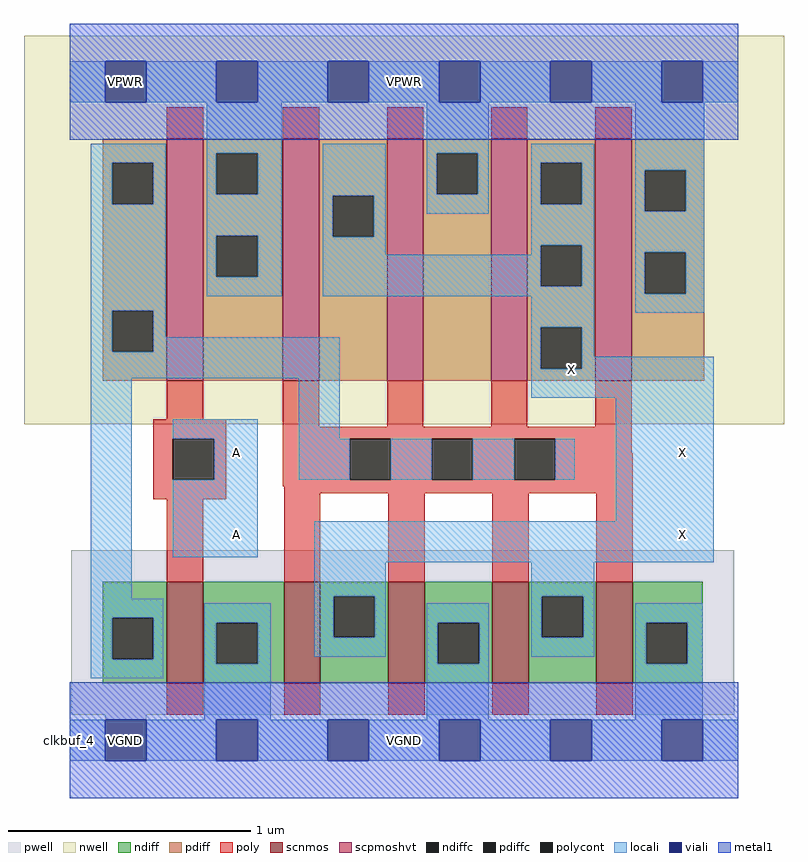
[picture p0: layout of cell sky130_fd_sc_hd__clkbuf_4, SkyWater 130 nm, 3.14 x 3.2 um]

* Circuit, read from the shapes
.subckt sky130_fd_sc_hd__clkbuf_4 A VGND VNB VPB VPWR X
XM1 VGND A n1 VNB sky130_fd_pr__nfet_01v8 w=0.42 l=0.15
XM2 X n1 VGND VNB sky130_fd_pr__nfet_01v8 w=0.42 l=0.15 m=4
XM3 VPWR A n1 VPB sky130_fd_pr__pfet_01v8_hvt w=1 l=0.15
XM4 X n1 VPWR VPB sky130_fd_pr__pfet_01v8_hvt w=1 l=0.15 m=4
.ends

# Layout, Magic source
magic
tech sky130A
magscale 1 2
<< nwell >>
rect -38 261 590 582
<< pwell >>
rect 1 21 549 157
rect 29 -17 63 21
<< scnmos >>
rect 80 47 110 131
rect 177 47 207 131
rect 263 47 293 131
rect 349 47 379 131
rect 435 47 465 131
<< scpmoshvt >>
rect 80 297 110 497
rect 176 297 206 497
rect 262 297 292 497
rect 348 297 378 497
rect 434 297 464 497
<< ndiff >>
rect 27 101 80 131
rect 27 67 35 101
rect 69 67 80 101
rect 27 47 80 67
rect 110 97 177 131
rect 110 63 121 97
rect 155 63 177 97
rect 110 47 177 63
rect 207 119 263 131
rect 207 85 218 119
rect 252 85 263 119
rect 207 47 263 85
rect 293 97 349 131
rect 293 63 304 97
rect 338 63 349 97
rect 293 47 349 63
rect 379 119 435 131
rect 379 85 390 119
rect 424 85 435 119
rect 379 47 435 85
rect 465 97 523 131
rect 465 63 476 97
rect 510 63 523 97
rect 465 47 523 63
<< pdiff >>
rect 27 477 80 497
rect 27 443 35 477
rect 69 443 80 477
rect 27 355 80 443
rect 27 321 35 355
rect 69 321 80 355
rect 27 297 80 321
rect 110 485 176 497
rect 110 451 121 485
rect 155 451 176 485
rect 110 417 176 451
rect 110 383 121 417
rect 155 383 176 417
rect 110 297 176 383
rect 206 450 262 497
rect 206 416 217 450
rect 251 416 262 450
rect 206 297 262 416
rect 292 485 348 497
rect 292 451 303 485
rect 337 451 348 485
rect 292 297 348 451
rect 378 477 434 497
rect 378 443 389 477
rect 423 443 434 477
rect 378 409 434 443
rect 378 375 389 409
rect 423 375 434 409
rect 378 341 434 375
rect 378 307 389 341
rect 423 307 434 341
rect 378 297 434 307
rect 464 471 524 497
rect 464 437 475 471
rect 509 437 524 471
rect 464 403 524 437
rect 464 369 475 403
rect 509 369 524 403
rect 464 297 524 369
<< ndiffc >>
rect 35 67 69 101
rect 121 63 155 97
rect 218 85 252 119
rect 304 63 338 97
rect 390 85 424 119
rect 476 63 510 97
<< pdiffc >>
rect 35 443 69 477
rect 35 321 69 355
rect 121 451 155 485
rect 121 383 155 417
rect 217 416 251 450
rect 303 451 337 485
rect 389 443 423 477
rect 389 375 423 409
rect 389 307 423 341
rect 475 437 509 471
rect 475 369 509 403
<< poly >>
rect 80 497 110 523
rect 176 497 206 523
rect 262 497 292 523
rect 348 497 378 523
rect 434 497 464 523
rect 80 265 110 297
rect 69 249 129 265
rect 69 215 85 249
rect 119 215 129 249
rect 69 199 129 215
rect 176 259 206 297
rect 262 259 292 297
rect 348 259 378 297
rect 434 259 464 297
rect 176 249 464 259
rect 176 215 231 249
rect 265 215 299 249
rect 333 215 367 249
rect 401 237 464 249
rect 401 215 465 237
rect 176 210 465 215
rect 177 204 465 210
rect 80 131 110 199
rect 177 131 207 204
rect 263 131 293 204
rect 349 131 379 204
rect 435 131 465 204
rect 80 21 110 47
rect 177 21 207 47
rect 263 21 293 47
rect 349 21 379 47
rect 435 21 465 47
<< polycont >>
rect 85 215 119 249
rect 231 215 265 249
rect 299 215 333 249
rect 367 215 401 249
<< locali >>
rect 0 527 29 561
rect 63 527 121 561
rect 155 527 213 561
rect 247 527 305 561
rect 339 527 397 561
rect 431 527 489 561
rect 523 527 552 561
rect 17 477 79 493
rect 17 443 35 477
rect 69 443 79 477
rect 17 355 79 443
rect 113 485 175 527
rect 113 451 121 485
rect 155 451 175 485
rect 113 417 175 451
rect 113 383 121 417
rect 155 383 175 417
rect 113 367 175 383
rect 209 450 261 493
rect 209 416 217 450
rect 251 416 261 450
rect 295 485 346 527
rect 295 451 303 485
rect 337 451 346 485
rect 295 435 346 451
rect 381 477 433 493
rect 381 443 389 477
rect 423 443 433 477
rect 209 401 261 416
rect 381 409 433 443
rect 381 401 389 409
rect 209 375 389 401
rect 423 375 433 409
rect 209 367 433 375
rect 17 321 35 355
rect 69 333 79 355
rect 381 341 433 367
rect 467 471 524 527
rect 467 437 475 471
rect 509 437 524 471
rect 467 403 524 437
rect 467 369 475 403
rect 509 369 524 403
rect 467 353 524 369
rect 69 321 223 333
rect 17 299 223 321
rect 17 117 51 299
rect 85 249 155 265
rect 119 215 155 249
rect 189 249 223 299
rect 381 307 389 341
rect 423 317 433 341
rect 423 307 532 317
rect 381 283 532 307
rect 189 215 231 249
rect 265 215 299 249
rect 333 215 367 249
rect 401 215 417 249
rect 85 151 155 215
rect 451 181 532 283
rect 202 147 532 181
rect 202 119 261 147
rect 17 101 77 117
rect 17 67 35 101
rect 69 67 77 101
rect 17 51 77 67
rect 111 97 166 113
rect 111 63 121 97
rect 155 63 166 97
rect 202 85 218 119
rect 252 85 261 119
rect 381 119 433 147
rect 202 69 261 85
rect 295 97 346 113
rect 111 17 166 63
rect 295 63 304 97
rect 338 63 346 97
rect 381 85 390 119
rect 424 85 433 119
rect 381 69 433 85
rect 467 97 523 113
rect 295 17 346 63
rect 467 63 476 97
rect 510 63 523 97
rect 467 17 523 63
rect 0 -17 29 17
rect 63 -17 121 17
rect 155 -17 213 17
rect 247 -17 305 17
rect 339 -17 397 17
rect 431 -17 489 17
rect 523 -17 552 17
<< viali >>
rect 29 527 63 561
rect 121 527 155 561
rect 213 527 247 561
rect 305 527 339 561
rect 397 527 431 561
rect 489 527 523 561
rect 29 -17 63 17
rect 121 -17 155 17
rect 213 -17 247 17
rect 305 -17 339 17
rect 397 -17 431 17
rect 489 -17 523 17
<< metal1 >>
rect 0 561 552 592
rect 0 527 29 561
rect 63 527 121 561
rect 155 527 213 561
rect 247 527 305 561
rect 339 527 397 561
rect 431 527 489 561
rect 523 527 552 561
rect 0 496 552 527
rect 0 17 552 48
rect 0 -17 29 17
rect 63 -17 121 17
rect 155 -17 213 17
rect 247 -17 305 17
rect 339 -17 397 17
rect 431 -17 489 17
rect 523 -17 552 17
rect 0 -48 552 -17
<< labels >>
flabel locali s 397 289 431 323 0 FreeSans 200 0 0 0 X
port 6 nsew signal output
flabel locali s 121 153 155 187 0 FreeSans 200 0 0 0 A
port 1 nsew signal input
flabel locali s 489 153 523 187 0 FreeSans 200 0 0 0 X
port 6 nsew signal output
flabel locali s 121 221 155 255 0 FreeSans 200 0 0 0 A
port 1 nsew signal input
flabel locali s 489 221 523 255 0 FreeSans 200 0 0 0 X
port 6 nsew signal output
flabel metal1 s 29 -17 63 17 0 FreeSans 200 0 0 0 VGND
port 2 nsew ground bidirectional abutment
flabel metal1 s 29 527 63 561 0 FreeSans 200 0 0 0 VPWR
port 5 nsew power bidirectional abutment
flabel nwell s 29 527 63 561 0 FreeSans 200 0 0 0 VPB
port 4 nsew power bidirectional
flabel pwell s 29 -17 63 17 0 FreeSans 200 0 0 0 VNB
port 3 nsew ground bidirectional
rlabel comment s 0 0 0 0 4 clkbuf_4
rlabel metal1 s 0 -48 552 48 1 VGND
port 2 nsew ground bidirectional abutment
rlabel metal1 s 0 496 552 592 1 VPWR
port 5 nsew power bidirectional abutment
<< properties >>
string FIXED_BBOX 0 0 552 544
string GDS_END 3189256
string GDS_FILE $PDKPATH/libs.ref/sky130_fd_sc_hd/gds/sky130_fd_sc_hd.gds
string GDS_START 3184100
string LEFclass CORE
string LEFsite unithd
string LEFsymmetry X Y R90
string path 0.000 13.600 13.800 13.600 
<< end >>
